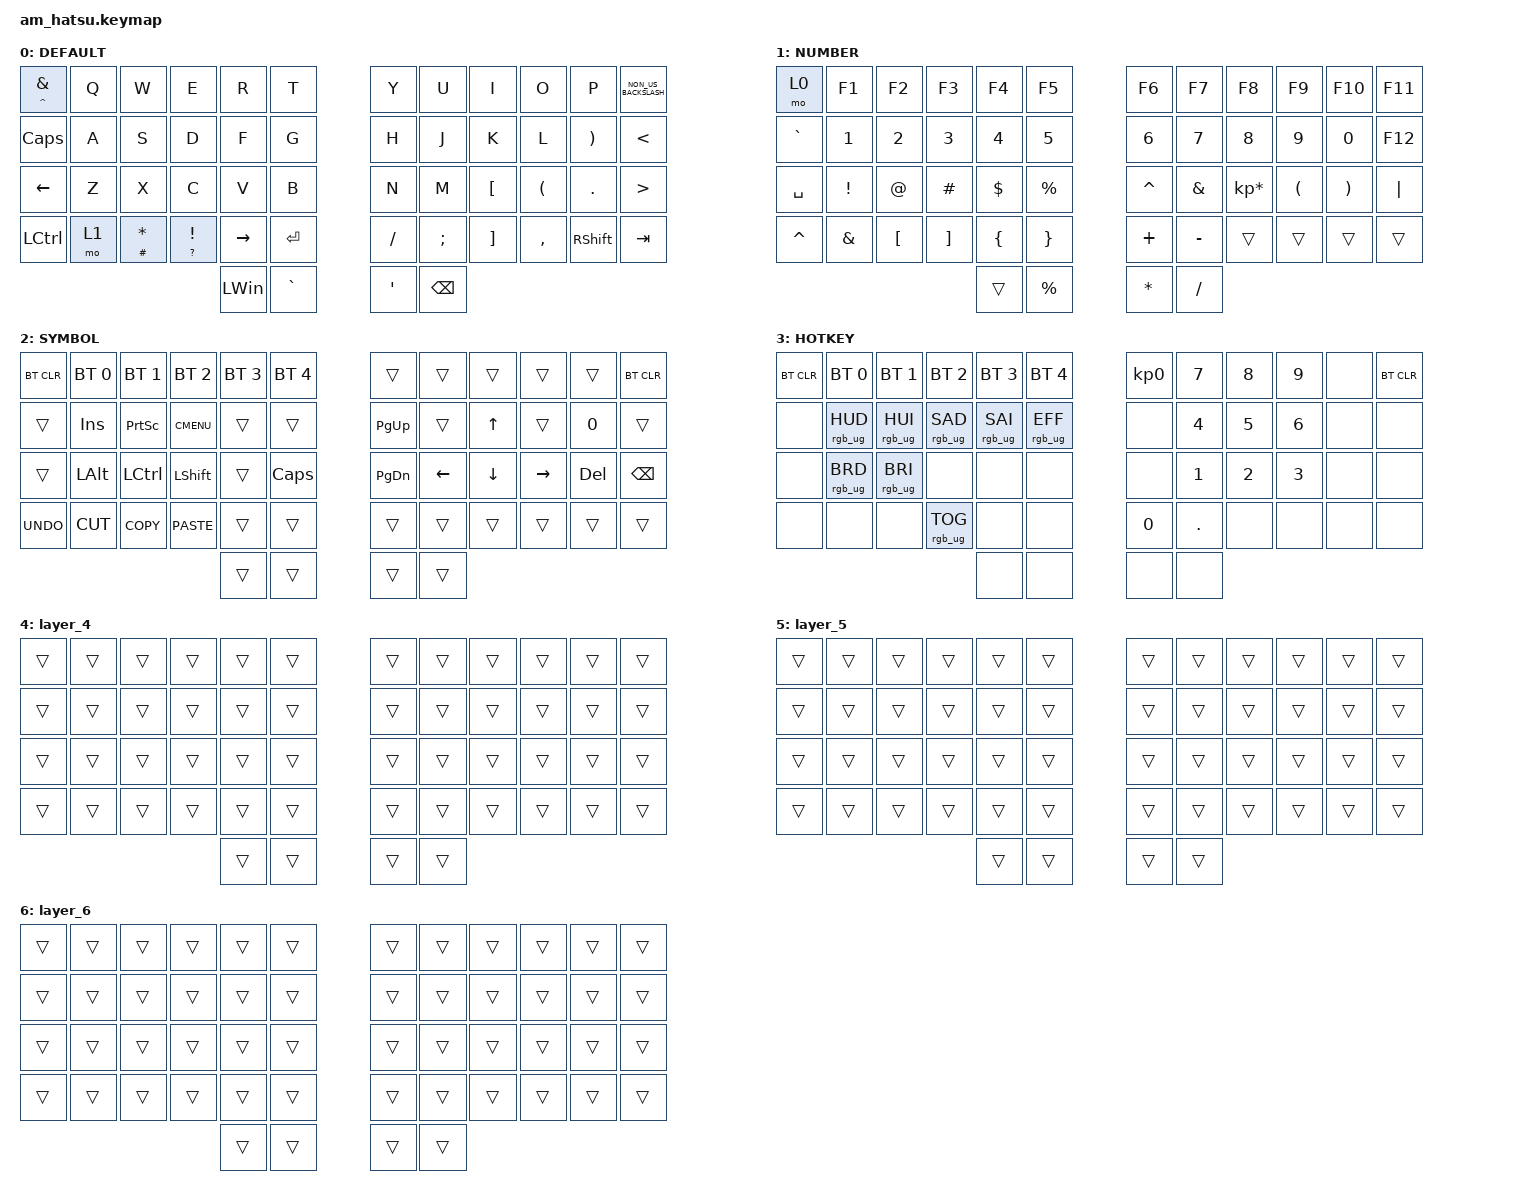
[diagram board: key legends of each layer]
/*
 * Copyright (c) 2020 The ZMK Contributors
 *
 * SPDX-License-Identifier: MIT
 */

#include <behaviors.dtsi>
#include <dt-bindings/zmk/bt.h>
#include <dt-bindings/zmk/keys.h>
#include <dt-bindings/zmk/rgb.h>

/ {
    macros {
        layer_s: layer_s {
            label = "layer shift color";
            compatible = "zmk,behavior-macro";
            #binding-cells = <0>;
            wait-ms = <0>;
            tap-ms = <0>;
            bindings =
                <&macro_press>,
                <&kp LSHFT>,
                <&macro_tap>,
                <&rgb_ug RGB_COLOR_HSB(35,100,50)>,
                <&macro_pause_for_release>,
                <&macro_release>,
                <&kp LSHFT>,
                <&macro_tap>,
                <&rgb_ug RGB_COLOR_HSB(240,50,30)>;
        };

        layer_1: layer_1 {
            label = "layer 1";
            compatible = "zmk,behavior-macro";
            #binding-cells = <0>;
            wait-ms = <0>;
            tap-ms = <0>;
            bindings =
                <&macro_press>,
                <&lt 1 END>,
                <&macro_tap>,
                <&rgb_ug RGB_COLOR_HSB(300,100,50)>,
                <&macro_pause_for_release>,
                <&macro_release>,
                <&lt 1 END>,
                <&macro_tap>,
                <&rgb_ug RGB_COLOR_HSB(240,50,30)>;
        };

        layer_2: layer_2 {
            label = "layer 2";
            compatible = "zmk,behavior-macro";
            #binding-cells = <0>;
            wait-ms = <0>;
            tap-ms = <0>;
            bindings =
                <&macro_press>,
                <&mo 2>,
                <&macro_tap>,
                <&rgb_ug RGB_COLOR_HSB(175,100,50)>,
                <&macro_pause_for_release>,
                <&macro_release>,
                <&mo 2>,
                <&macro_tap>,
                <&rgb_ug RGB_COLOR_HSB(240,50,30)>;
        };

        layer_3: layer_3 {
            label = "layer 3";
            compatible = "zmk,behavior-macro";
            #binding-cells = <0>;
            wait-ms = <0>;
            tap-ms = <0>;
            bindings =
                <&macro_press>,
                <&lt 3 DEL>,
                <&macro_tap>,
                <&rgb_ug RGB_COLOR_HSB(0,100,50)>,
                <&macro_pause_for_release>,
                <&macro_release>,
                <&lt 3 DEL>,
                <&macro_tap>,
                <&rgb_ug RGB_COLOR_HSB(240,50,30)>;
        };
    };

    combos {
        compatible = "zmk,combos";

        combo_esc {
            timeout-ms = <50>;
            key-positions = <0 1>;
            bindings = <&kp ESC>;
        };

        left_bkt {
            bindings = <&kp LEFT_BRACKET>;
            key-positions = <3 4>;
        };

        right_bkt {
            bindings = <&kp RIGHT_BRACKET>;
            key-positions = <7 8>;
        };

        left_brace {
            bindings = <&kp LEFT_BRACE>;
            key-positions = <27 28>;
        };

        right_brace {
            bindings = <&kp RIGHT_BRACE>;
            key-positions = <31 32>;
        };

        less_than {
            bindings = <&kp LESS_THAN>;
            key-positions = <15 16>;
        };

        great_than {
            bindings = <&kp GREATER_THAN>;
            key-positions = <20 19>;
        };

        pipe {
            bindings = <&kp PIPE>;
            key-positions = <15 20>;
        };

        back_slash {
            bindings = <&kp BACKSLASH>;
            key-positions = <3 8>;
        };
    };

    behaviors {
        hm: homerow_mods {
            compatible = "zmk,behavior-hold-tap";
            label = "HOMEROW_MODS";
            #binding-cells = <2>;
            tapping-term-ms = <150>;
            quick-tap-ms = <0>;
            flavor = "tap-preferred";
            bindings = <&kp>, <&kp>;
        };

        aa: aa {
            compatible = "zmk,behavior-tap-dance";
            label = "select all";
            #binding-cells = <0>;
            tapping-term-ms = <100>;
            bindings = <&kp A>, <&kp LG(A)>;
        };

        cc: cc {
            compatible = "zmk,behavior-tap-dance";
            label = "copy";
            #binding-cells = <0>;
            tapping-term-ms = <100>;
            bindings = <&kp C>, <&kp LG(C)>;
        };

        cv: cv {
            compatible = "zmk,behavior-tap-dance";
            label = "paste";
            #binding-cells = <0>;
            tapping-term-ms = <100>;
            bindings = <&kp V>, <&kp LG(V)>;
        };

        cx: cx {
            compatible = "zmk,behavior-tap-dance";
            label = "cut";
            #binding-cells = <0>;
            tapping-term-ms = <100>;
            bindings = <&kp X>, <&kp LG(X)>;
        };
    };

    #define DEFAULT 0
#define NUMBER  1
#define SYMBOL  2
#define HOTKEY  3

    keymap {
        compatible = "zmk,keymap";

        default_layer {
            label = "DEFAULT";

            // -----------------------------------------------------------------------------------------------------------------------------------
            // |  ESC  |  Q  |  W  |  E   |  R   |  T   |                                   |  Y   |  U    |  I    |  O   |   P   |   \   |
            // |  TAB  |  A  |  S  |  D   |  F   |  G   |                                   |  H   |  J    |  K    |  L   |   ;   |   '   |
            // | CTRL  |  Z  |  X  |  C   |  V   |  B   |        				|  N   |  M    |  ,    |  .   |   /   | SHIFT |
            // |             | GUI |  ~   |SHIFT | SPACE|                 			| ENTER| BSPC  |   -   |  =   | 
            // |             |            | CTRL |  DEL |            			| HOME |  CTRL | 
            // |             |            |  ALT | LEFT |					|  END |  ALT |

            bindings = <
&hm CARET AMPERSAND  &kp Q  &kp W           &kp E              &kp R         &kp T      &kp Y             &kp U          &kp I              &kp O                 &kp P                  &kp NON_US_BACKSLASH
&kp CAPS             &kp A  &kp S           &kp D              &kp F         &kp G      &kp H             &kp J          &kp K              &kp L                 &kp RIGHT_PARENTHESIS  &kp LESS_THAN
&kp LEFT_ARROW       &kp Z  &kp X           &kp C              &kp V         &kp B      &kp N             &kp M          &kp LBKT           &kp LEFT_PARENTHESIS  &kp PERIOD             &kp GREATER_THAN
&kp LCTRL            &mo 1  &hm HASH ASTRK  &hm QUESTION EXCL  &kp RIGHT     &kp ENTER  &kp SLASH         &kp SEMICOLON  &kp RIGHT_BRACKET  &kp COMMA             &kp RIGHT_SHIFT        &kp TAB
                                                               &kp LEFT_WIN  &kp GRAVE  &kp SINGLE_QUOTE  &kp BSPC
            >;
        };

        number_layer {
            label = "NUMBER";

            // ------------------------------------------------------------------------------------------------------------
            // |       |  F1 |  F2 |  F3  |  F4  |  F5  |                   |  F6  |  F7   |  F8   |  F9  |  F10  |  F11  |
            // | `     |   1 |   2 |   3  |   4  |   5  |                   |   6  |   7   |   8   |   9  |    0  |  F12  |
            // |       |  !  |  @  |  #   |  $   |  %   |                   |  ^   |  &    |  *    |  (   |   )   |   |   |
            //               |     |      |   [  |  ]   |                   |  {   |   }   |       |      |
            //               |     |      |      |      |                   |      |       |       |      |
            //               |     |      |      |      |                   |      |       |       |      |

            bindings = <
&mo 0      &kp F1         &kp F2    &kp F3    &kp F4    &kp F5       &kp F6        &kp F7     &kp F8           &kp F9    &kp F10   &kp F11
&kp GRAVE  &kp N1         &kp N2    &kp N3    &kp N4    &kp N5       &kp N6        &kp N7     &kp N8           &kp N9    &kp N0    &kp F12
&kp SPACE  &kp EXCL       &kp AT    &kp HASH  &kp DLLR  &kp PRCNT    &kp CARET     &kp AMPS   &kp KP_MULTIPLY  &kp LPAR  &kp RPAR  &kp PIPE
&kp CARET  &kp AMPERSAND  &kp LBKT  &kp RBKT  &kp LBRC  &kp RBRC     &kp PLUS      &kp MINUS  &trans           &trans    &trans    &trans
                                              &trans    &kp PERCENT  &kp ASTERISK  &kp SLASH
            >;
        };

        symbol_layer {
            label = "SYMBOL";

            // ------------------------------------------------------------------------------------------------------------
            // |BTCLR| BT1  | BT2  |  BT3  |  BT4  |  BT5 |                |      |      |       |      |       | BTCLR |
            // |     | INS  | PSCR | GUI   |       |      |                | PGUP |      |   ^   |      |       |       |
            // |     | ALT  | CTRL | SHIFT |       | CAPS |                | PGDN |   <- |   v   |  ->  |  DEL  | BKSPC |
            // |            | UNDO | CUT   | COPY  |PASTE |                |      |      |       |      |
            //                             |      |       |                |      |      |    
            //                             |      |       |                |      |      |      

            bindings = <
&bt BT_CLR  &bt BT_SEL 0  &bt BT_SEL 1  &bt BT_SEL 2  &bt BT_SEL 3  &bt BT_SEL 4  &trans     &trans    &trans    &trans     &trans   &bt BT_CLR
&trans      &kp INS       &kp PSCRN     &kp K_CMENU   &trans        &trans        &kp PG_UP  &trans    &kp UP    &trans     &kp N0   &trans
&trans      &kp LALT      &kp LCTRL     &kp LSHFT     &trans        &kp CLCK      &kp PG_DN  &kp LEFT  &kp DOWN  &kp RIGHT  &kp DEL  &kp BSPC
&kp K_UNDO  &kp K_CUT     &kp K_COPY    &kp K_PASTE   &trans        &trans        &trans     &trans    &trans    &trans     &trans   &trans
                                                      &trans        &trans        &trans     &trans
            >;
        };

        hotkey_layer {
            label = "HOTKEY";

            // ------------------------------------------------------------------------------------------------------------
            // |BTCLR | BT1   | BT2   |  BT3  |  BT4  |  BT5  |                |      |  7   |   8   |   9  |       | BTCLR |
            // |      |RGB减色 |RGB增色|RGB减饱|RGB增饱 |RGB特效|                |      |  4   |   5   |   6  |       |       |
            // |      |RGB减亮 |RGB增亮|       |       |       |                |      |  1   |   2   |   3  |       |       |
            // |               | 	  |       |       |RGB开关|                 |      |      |   0   |   .  |
            //                                |       |       |                |      |      |    
            //                                |       |       |                |      |      |   

            bindings = <
&bt BT_CLR  &bt BT_SEL 0     &bt BT_SEL 1     &bt BT_SEL 2     &bt BT_SEL 3     &bt BT_SEL 4     &kp KP_NUMBER_0  &kp N7   &kp N8  &kp N9  &none  &bt BT_CLR
&none       &rgb_ug RGB_HUD  &rgb_ug RGB_HUI  &rgb_ug RGB_SAD  &rgb_ug RGB_SAI  &rgb_ug RGB_EFF  &none            &kp N4   &kp N5  &kp N6  &none  &none
&none       &rgb_ug RGB_BRD  &rgb_ug RGB_BRI  &none            &none            &none            &none            &kp N1   &kp N2  &kp N3  &none  &none
&none       &none            &none            &rgb_ug RGB_TOG  &none            &none            &kp N0           &kp DOT  &none   &none   &none  &none
                                                               &none            &none            &none            &none
            >;
        };

        layer_4 {
            bindings = <
&trans  &trans  &trans  &trans  &trans  &trans  &trans  &trans  &trans  &trans  &trans  &trans
&trans  &trans  &trans  &trans  &trans  &trans  &trans  &trans  &trans  &trans  &trans  &trans
&trans  &trans  &trans  &trans  &trans  &trans  &trans  &trans  &trans  &trans  &trans  &trans
&trans  &trans  &trans  &trans  &trans  &trans  &trans  &trans  &trans  &trans  &trans  &trans
                                &trans  &trans  &trans  &trans
            >;
        };

        layer_5 {
            bindings = <
&trans  &trans  &trans  &trans  &trans  &trans  &trans  &trans  &trans  &trans  &trans  &trans
&trans  &trans  &trans  &trans  &trans  &trans  &trans  &trans  &trans  &trans  &trans  &trans
&trans  &trans  &trans  &trans  &trans  &trans  &trans  &trans  &trans  &trans  &trans  &trans
&trans  &trans  &trans  &trans  &trans  &trans  &trans  &trans  &trans  &trans  &trans  &trans
                                &trans  &trans  &trans  &trans
            >;
        };

        layer_6 {
            bindings = <
&trans  &trans  &trans  &trans  &trans  &trans  &trans  &trans  &trans  &trans  &trans  &trans
&trans  &trans  &trans  &trans  &trans  &trans  &trans  &trans  &trans  &trans  &trans  &trans
&trans  &trans  &trans  &trans  &trans  &trans  &trans  &trans  &trans  &trans  &trans  &trans
&trans  &trans  &trans  &trans  &trans  &trans  &trans  &trans  &trans  &trans  &trans  &trans
                                &trans  &trans  &trans  &trans
            >;
        };
    };
};
